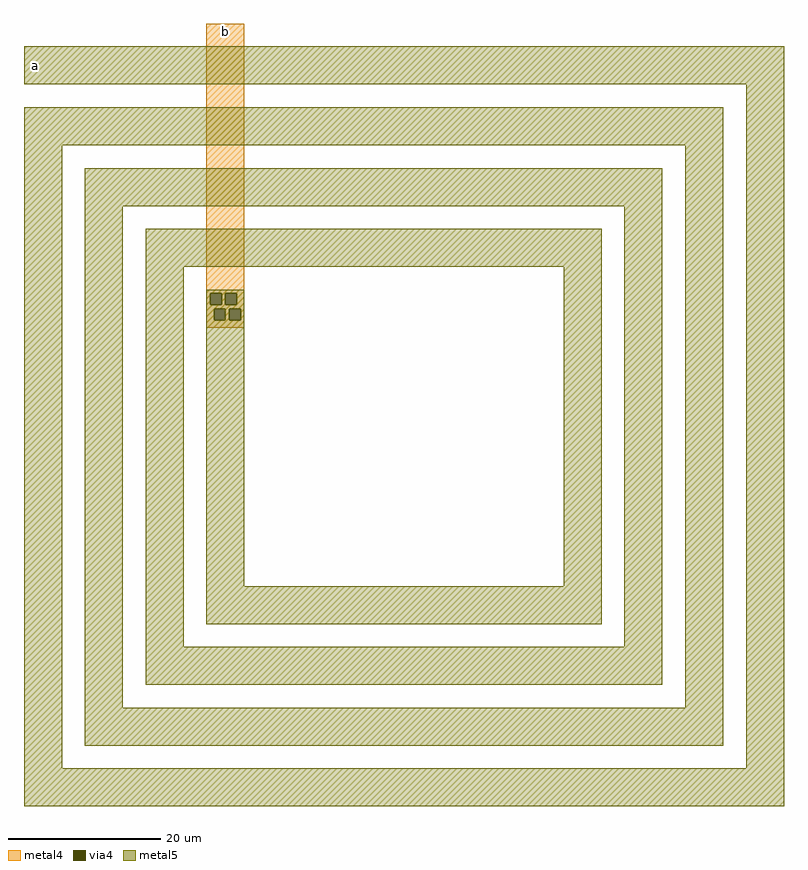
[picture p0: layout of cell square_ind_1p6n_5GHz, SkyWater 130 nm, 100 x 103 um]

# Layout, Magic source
magic
tech sky130B
<< metal4 >>
rect 2300 -2850 2800 700
rect 2300 -3000 2350 -2850
rect 2500 -3000 2550 -2850
rect 2700 -3000 2800 -2850
rect 2300 -3050 2800 -3000
rect 2300 -3200 2400 -3050
rect 2550 -3200 2600 -3050
rect 2750 -3200 2800 -3050
rect 2300 -3300 2800 -3200
<< via4 >>
rect 2350 -3000 2500 -2850
rect 2550 -3000 2700 -2850
rect 2400 -3200 2550 -3050
rect 2600 -3200 2750 -3050
<< metal5 >>
rect -100 -100 9900 400
rect -100 -900 9100 -400
rect -100 -9100 400 -900
rect 700 -1700 8300 -1200
rect 700 -8300 1200 -1700
rect 1500 -2500 7500 -2000
rect 1500 -7500 2000 -2500
rect 2300 -2850 2800 -2800
rect 2300 -3000 2350 -2850
rect 2500 -3000 2550 -2850
rect 2700 -3000 2800 -2850
rect 2300 -3050 2800 -3000
rect 2300 -3200 2400 -3050
rect 2550 -3200 2600 -3050
rect 2750 -3200 2800 -3050
rect 2300 -6700 2800 -3200
rect 7000 -6700 7500 -2500
rect 2300 -7200 7500 -6700
rect 7800 -7500 8300 -1700
rect 1500 -8000 8300 -7500
rect 8600 -8300 9100 -900
rect 700 -8800 9100 -8300
rect 9400 -9100 9900 -100
rect -100 -9600 9900 -9100
<< labels >>
rlabel metal4 2300 500 2800 700 1 b
rlabel metal5 -100 -100 200 400 1 a
<< end >>
